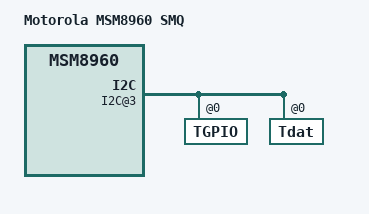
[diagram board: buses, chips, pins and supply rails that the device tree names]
/* Copyright (c) 2013 Motorola Mobility LLC. All rights reserved.
 *
 * This program is free software; you can redistribute it and/or modify
 * it under the terms of the GNU General Public License version 2 and
 * only version 2 as published by the Free Software Foundation.
 *
 * This program is distributed in the hope that it will be useful,
 * but WITHOUT ANY WARRANTY; without even the implied warranty of
 * MERCHANTABILITY or FITNESS FOR A PARTICULAR PURPOSE.  See the
 * GNU General Public License for more details.
 */

/dts-v1/;

/include/ "skeleton.dtsi"

/include/ "msm8960.dtsi"

/include/ "msm8960-motref.dtsi"

/include/ "msm8960-motref-pinmux.dtsi"

/ {
	model = "Motorola MSM8960 SMQ";
	compatible = "mmi,msm8960";

	mmi,product = "mmi,msm8960-smq";

	mmi,dt_revision = <2>;

	Aliases@0 {
	};

	Machine@0 {
	};

};

/ {

	Aliases@0 {
	};

	Chosen@0 {
		batt_eprom_gpio = <0x5d>;
		emu_id_activehigh = <0x01>;
		emu_id_flt_activehigh = <0x01>;
		emu_id_flt_gpio = <0xaa>;
		emu_id_mpp_gpio = <0xcd>;
		factory_kill_disable = <0x00>;
		factory_kill_gpio = <0x0000004b>;
		formfactor = <0x00000003>;
		last_compat_version = <0x01330684>;
		panel_name = [6d6970695f6d6f745f636d645f736d645f7168645f34323900];
		product = <0x00001eff>;
		setup_gsbi12_clock = <0x00>;
		version = <0x0133068b>;
	};

	Machine@0 {
	};

	System@0 {

		ClockTree@0 {
			class = [436c6f636b5472656500];
			type = <0x001e0014>;

			Clock@0 {
				class = [5175616c636f6d6d436c6f636b54726565436c6f636b00];
				clock = <0x000c>;
				clockname = [636f72655f636c6b00];
				deviceid = [6d736d5f73657269616c5f68736c2e3500];
				type = <0x001e0015>;
			};

			Clock@1 {
				class = [5175616c636f6d6d436c6f636b54726565436c6f636b00];
				clock = <0x000e>;
				clockname = [69666163655f636c6b00];
				deviceid = [6d736d5f73657269616c5f68736c2e3500];
				type = <0x001e0015>;
			};

			Clock@2 {
				class = [5175616c636f6d6d436c6f636b54726565436c6f636b00];
				clock = <0x0025>;
				clockname = [63616d5f636c6b00];
				deviceid = [342d3030333600];
				type = <0x001e0015>;
			};

			Clock@3 {
				class = [5175616c636f6d6d436c6f636b54726565436c6f636b00];
				clock = <0x0009>;
				clockname = [636f72655f636c6b00];
				deviceid = [6d736d5f73657269616c5f68732e3100];
				type = <0x001e0015>;
			};

			Clock@4 {
				class = [5175616c636f6d6d436c6f636b54726565436c6f636b00];
				clock = <0x000b>;
				clockname = [69666163655f636c6b00];
				deviceid = [6d736d5f73657269616c5f68732e3100];
				type = <0x001e0015>;
			};

			Clock@5 {
				class = [5175616c636f6d6d436c6f636b54726565436c6f636b00];
				clock = <0x000b>;
				clockname = [69666163655f636c6b00];
				deviceid = [7175705f6932632e3400];
                        };

                        Clock@6 {
                                class = [5175616c636f6d6d436c6f636b54726565436c6f636b00];
				clock = <0x0024>;
				clockname = [63616d5f636c6b00];
				deviceid = [342d3030336300];
				type = <0x001e0015>;
			};
		};

		Display@0 {
			class = [446973706c617900];
			disp_intf = <0x04>;
			num_disp_reg = <0x03>;
			panel_name = [6d6970695f6d6f745f636d645f736d645f7168645f34323900];
			reg_gpio_en_1 = <0x0c>;
			reg_gpio_en_3 = <0x0d>;
			reg_gpio_en_init_state_1 = <0x01>;
			reg_gpio_en_init_state_3 = <0x01>;
			reg_gpio_en_state_1 = <0x01>;
			reg_gpio_en_state_3 = <0x01>;
			reg_gpio_en_type_1 = <0x00>;
			reg_gpio_en_type_3 = <0x00>;
			reg_gpio_name_1 = [444953505f56325f454e00];
			reg_gpio_name_3 = [444953505f56315f454e00];
			reg_id_1 = [6473695f733400];
			reg_id_2 = [646973705f76636900];
			reg_id_3 = <0x00>;
			reg_max_mv_1 = <0x001b7740>;
			reg_max_mv_2 = <0x002f4d60>;
			reg_min_mv_1 = <0x001b7740>;
			reg_min_mv_2 = <0x002f4d60>;
			reg_name_1 = [444953505f564444494f00];
			reg_name_2 = [444953505f56434900];
			reg_name_3 = [565f335038305f4449535000];
			rst_dis_post_delay_1 = <0x000a>;
			rst_en_post_delay_1 = <0x0014>;
			rst_en_pre_delay_1 = <0x0019>;
			rst_en_state_1 = <0x01>;
			rst_gpio_1 = <0x25>;
			rst_gpio_type_1 = <0x01>;
			rst_init_state_1 = <0x01>;
			type = <0x001e001b>;
		};

		EMUDetection@0 {
			accy-support = <0x00>;
			class = [5175616c636f6d6d5f454d555f446574656374696f6e00];
			ic-type = <0x01>;
			type = <0x0000001d>;
			uart-gsbi = <0x04>;
			usb-otg-vreg = [383932315f7573625f6f746700];
			vdd-vreg = [454d555f504f57455200];
			vdd-vreg-mv = <0x002b7cd0>;

			Gpio-alt-mode@0 {
				class = [4750494f00];
				gpio-info = <0x0223>;
				pin-name = [53454d555f414c545f4d4f44455f454e5f4750494f00];
				pmic-gpio-cfg = [010000050603000001];
				pmic-gpio-cfg-alt = [010001050601000000];
				type = <0x001e0010>;
			};

			Gpio-dmb-ppd@0 {
				class = [4750494f00];
				gpio-info = <0x0309>;
				pin-name = [444d425f5050445f4445545f4750494f00];
				pmic-mpp-cfg = [000400];
				type = <0x001e0010>;
			};

			Gpio-dminus@0 {
				class = [4750494f00];
				gpio-info = <0x0215>;
				pin-name = [444d494e55535f4750494f00];
				pmic-gpio-cfg = [010000010602010000];
				pmic-gpio-cfg-alt = [020000050603000000];
				type = <0x001e0010>;
			};

			Gpio-dplus@0 {
				class = [4750494f00];
				gpio-info = <0x0229>;
				pin-name = [44504c55535f4750494f00];
				pmic-gpio-cfg = [020000010602010000];
				pmic-gpio-cfg-alt = [020000000603000000];
				type = <0x001e0010>;
			};

			Gpio-mux-ctrl0@0 {
				class = [4750494f00];
				gpio-info = <0x016b>;
				msm-gpio-cfg = <0x00030300>;
				pin-name = [454d555f4d55585f4354524c305f4750494f00];
				type = <0x001e0010>;
			};

			Gpio-mux-ctrl1@0 {
				class = [4750494f00];
				gpio-info = <0x0160>;
				msm-gpio-cfg = <0x00030100>;
				pin-name = [454d555f4d55585f4354524c315f4750494f00];
				type = <0x001e0010>;
			};

			Gpio-ppd-det@0 {
				class = [4750494f00];
				gpio-info = <0x0217>;
				pin-name = [53454d555f5050445f4445545f4750494f00];
				pmic-gpio-cfg = [020000050603000000];
				type = <0x001e0010>;
			};

			Gpio-sci-out@0 {
				class = [4750494f00];
				gpio-info = <0x030a>;
				pin-name = [454d555f5343495f4f55545f4750494f00];
				pmic-mpp-cfg = [000400];
				type = <0x001e0010>;
			};

			Gpio-uart-rx-pair@0 {
				class = [4750494f00];
				gpio-info = <0x022a>;
				pin-name = [52585f504149525f4750494f00];
				pmic-gpio-cfg = [010000010202010000];
				pmic-gpio-cfg-alt = [020000050202000001];
				type = <0x001e0010>;
			};

			Gpio-uart-tx-pair@0 {
				class = [4750494f00];
				gpio-info = <0x0216>;
				pin-name = [54585f504149525f4750494f00];
				pmic-gpio-cfg = [020000010202010000];
				pmic-gpio-cfg-alt = [020000050202000001];
				type = <0x001e0010>;
			};

			Gpio-whisper-rx@0 {
				class = [4750494f00];
				gpio-info = <0x0113>;
				msm-gpio-cfg = <0x01030000>;
				msm-gpio-cfg-alt = <0x00030000>;
				pin-name = [574849535045525f554152545f52585f4750494f00];
				type = <0x001e0010>;
			};

			Gpio-whisper-tx@0 {
				class = [4750494f00];
				gpio-info = <0x0112>;
				msm-gpio-cfg = <0x01030000>;
				msm-gpio-cfg-alt = <0x00030002>;
				pin-name = [574849535045525f554152545f54585f4750494f00];
				type = <0x001e0010>;
			};
		};

		Feature@0 {
			class = [4665617475726500];
			feature_hdmi = <0x00>;
			feature_mipi_cam = <0x00>;
			type = <0x0000000f>;
		};

		GSBISetup@0 {
			class = [47534249536574757000];
			type = <0x001e0012>;

			GSBI@1 {
				class = [5175616c636f6d6d47534249504f525400];
				gsbi_type = <0x03>;
				max_clock_speed = <0x00e5cc20>;
				type = <0x001e0013>;
			};

			GSBI@10 {
				class = [5175616c636f6d6d47534249504f525400];
				clk_freq = <0x00061a80>;
				gsbi_type = <0x01>;
				src_clk_rate = <0x016e3600>;
				type = <0x001e0013>;
			};

			GSBI@3 {
				class = [5175616c636f6d6d47534249504f525400];
				clk_freq = <0x00061a80>;
				gsbi_type = <0x02>;
				src_clk_rate = <0x016e3600>;
				type = <0x001e0013>;
			};

			GSBI@4 {
				class = [5175616c636f6d6d47534249504f525400];
				clk_freq = <0x00061a80>;
				gsbi_type = <0x06>;
				shared_mode = <0x01>;
				src_clk_rate = <0x016e3600>;
				type = <0x001e0013>;
			};

			GSBI@5 {
				class = [5175616c636f6d6d47534249504f525400];
				gsbi_type = <0x06>;
				shared_mode = <0x00>;
				type = <0x001e0013>;
				uart_line = <0x00>;
			};
		};

		I2C@10 {
			class = <0x49324300>;
			type = <0x001e0003>;

			I2C,Board@0 {
				class = [435434303600];
				ct406_prox_covered_offset = <0x0096>;
				ct406_prox_pulse_count = <0x05>;
				ct406_prox_uncovered_offset = <0x006e>;
				i2c,address = <0x00000039>;
				i2c,type = [637434303600];
				irq,gpio = <0x31>;
				type = <0x00250001>;
			};

			I2C,Board@4 {
				class = [504e35343400];
				i2c,address = <0x00000028>;
				i2c,type = [706e35343400];
				irq,gpio = <0x6a>;
				platform_data = [0000006a000000440000003300000000];
				type = <0x00190001>;
			};

			I2C,Board@5 {
				class = [544d5031303500];
				i2c,address = <0x00000048>;
				i2c,type = [746d7031303500];
				irq,gpio = <0x43>;
				type = <0x00030014>;
			};
		};

		I2C@3 {
			class = <0x49324300>;
			type = <0x001e0003>;

			I2C,Board@3 {
				class = <0x4d585400>;
				i2c,address = <0x0000004a>;
				i2c,type = [61746d78742d69326300];
				irq,gpio = <0x2e>;
				type = <0x00260001>;

				TGPIO@0 {
					class = [544750494f00];
					en_gpio = <0x34>;
					irq_gpio = <0x2e>;
					rst_gpio = <0x32>;
					type = <0x0000001f>;
				};

				Tdat@0 {
					class = [5464617400];
					tdat_filename = [61746d78742d72322e7464617400];
					type = <0x0000001e>;
				};
			};
		};

		I2C@4 {
			class = <0x49324300>;
			type = <0x001e0003>;

			I2C,Board@0 {
				1p8_via_gpio = <0x01>;
				class = [4f563838323000];
				drv_strength = <0x02>;
				gpio_avdd_en = <0x00000036>;
				gpio_dig_en = <0x0000003a>;
				gpio_pwd = <0x0000005f>;
				gpio_reset = <0x00000061>;
				i2c,address = <0x00000036>;
				i2c,type = [6f763838323000];
				type = <0x00290000>;
			};

			I2C,Board@2 {
				class = [4c4d3335353600];
				current_cntrl_reg_val = <0x1a>;
				enable_gpio = <0x00000002>;
				i2c,address = <0x00000063>;
				i2c,type = [6c6d333535365f6c656400];
				type = <0x000b0006>;
			};

			I2C,Board@3 {
				class = [4f563737333600];
				drv_strength = <0x02>;
				gpio_avdd_en = <0x00000052>;
				gpio_pwd = <0x00000059>;
				gpio_reset = <0x0000004c>;
				i2c,address = <0x0000003c>;
				i2c,type = [6f763737333600];
				type = <0x00290001>;
			};
		};

		IOMUX@0 {
			class = [494f4d555800];
			settings = [0000010001000000000001010000000101000100000004000200000000040102000000000500010303000005010101030000060100010000000701000100000008010001000000090100010000000b0100010000000e0100010000000f01000100000014000103000100140101030001001500010300010015010103000100200100010000002101000100000022010001000000230100010000002401000100000025010001000000260100010000002701000100000028010001000000290100010000002a0100010000002b01000100000030010001000000340100010000003501000100000037010001000000380100010000003f010001000000400100010000004101000100000042010001000000450100010000004601000100000047010001000000480100010000004d010001000000510100010000005a0100010000005d0000000000005d0100000000005e01000100000062010001000000630100010000006401000100000065010001000000660100010000006d0100010000008a0100010000009501000100000096010001000000970100010000];
			type = <0x001e000f>;
		};

		PowerIC@0 {
			chg-hot-temp = <0x38>;
			chg-hot-temp-offset = <0x04>;
			class = [506f776572494300];
			type = <0x001e0004>;

			GPIO@10 {
				class = [5175616c636f6d6d504d383932314750494f00];
				gpio = <0x000a>;
				type = <0x001e0006>;
			};

			GPIO@11 {
				class = [5175616c636f6d6d504d383932314750494f00];
				gpio = <0x000b>;
				type = <0x001e0006>;
			};

			GPIO@12 {
				class = [5175616c636f6d6d504d383932314750494f00];
				gpio = <0x000c>;
				type = <0x001e0006>;
			};

			GPIO@13 {
				class = [5175616c636f6d6d504d383932314750494f00];
				gpio = <0x000d>;
				type = <0x001e0006>;
			};

			GPIO@14 {
				class = [5175616c636f6d6d504d383932314750494f00];
				gpio = <0x000e>;
				type = <0x001e0006>;
			};

			GPIO@15 {
				class = [5175616c636f6d6d504d383932314750494f00];
				gpio = <0x000f>;
				type = <0x001e0006>;
			};

			GPIO@16 {
				class = [5175616c636f6d6d504d383932314750494f00];
				gpio = <0x0010>;
				type = <0x001e0006>;
			};

			GPIO@17 {
				class = [5175616c636f6d6d504d383932314750494f00];
				gpio = <0x0011>;
				type = <0x001e000b>;
				vin = <0x06>;
			};

			GPIO@20 {
				class = [5175616c636f6d6d504d383932314750494f00];
				gpio = <0x0014>;
				pull = <0x00>;
				type = <0x001e0008>;
			};

			GPIO@21 {
				class = [5175616c636f6d6d504d383932314750494f00];
				gpio = <0x0015>;
				type = <0x001e000c>;
				vin = <0x06>;
			};

			GPIO@22 {
				class = [5175616c636f6d6d504d383932314750494f00];
				gpio = <0x0016>;
				type = <0x001e000b>;
				vin = <0x02>;
			};

			GPIO@23 {
				class = [5175616c636f6d6d504d383932314750494f00];
				gpio = <0x0017>;
				type = <0x001e000b>;
				vin = <0x06>;
			};

			GPIO@24 {
				class = [5175616c636f6d6d504d383932314750494f00];
				func = <0x03>;
				gpio = <0x0018>;
				type = <0x001e0009>;
				value = <0x0000>;
			};

			GPIO@25 {
				class = [5175616c636f6d6d504d383932314750494f00];
				func = <0x03>;
				gpio = <0x0019>;
				type = <0x001e0009>;
				value = <0x0000>;
			};

			GPIO@26 {
				class = [5175616c636f6d6d504d383932314750494f00];
				func = <0x03>;
				gpio = <0x001a>;
				type = <0x001e0009>;
				value = <0x0000>;
			};

			GPIO@33 {
				class = [5175616c636f6d6d504d383932314750494f00];
				gpio = <0x0021>;
				type = <0x001e0006>;
			};

			GPIO@37 {
				class = [5175616c636f6d6d504d383932314750494f00];
				gpio = <0x0025>;
				type = <0x001e0007>;
				value = <0x0001>;
			};

			GPIO@40 {
				class = [5175616c636f6d6d504d383932314750494f00];
				gpio = <0x0028>;
				type = <0x001e0007>;
				value = <0x0000>;
			};

			GPIO@41 {
				class = [5175616c636f6d6d504d383932314750494f00];
				gpio = <0x0029>;
				type = <0x001e000b>;
				vin = <0x06>;
			};

			GPIO@42 {
				class = [5175616c636f6d6d504d383932314750494f00];
				gpio = <0x002a>;
				type = <0x001e000c>;
				vin = <0x02>;
			};

			GPIO@43 {
				class = [5175616c636f6d6d504d383932314750494f00];
				gpio = <0x002b>;
				type = <0x001e0006>;
			};

			GPIO@44 {
				class = [5175616c636f6d6d504d383932314750494f00];
				gpio = <0x002c>;
				type = <0x001e0006>;
			};

			GPIO@6 {
				class = [5175616c636f6d6d504d383932314750494f00];
				gpio = <0x0006>;
				type = <0x001e0006>;
			};

			GPIO@7 {
				class = [5175616c636f6d6d504d383932314750494f00];
				gpio = <0x0007>;
				type = <0x001e0006>;
			};

			GPIO@8 {
				class = [5175616c636f6d6d504d383932314750494f00];
				gpio = <0x0008>;
				type = <0x001e0006>;
			};
		};

		Vibrator@0 {
			class = [5669627261746f7200];
			max = <0x01c9c380>;
			min = <0x00003a98>;
			pwm = [00004e1f000000010000000100000001000061a7000080e8000080e800004e20000080e700009c4000009c40000061a800009c3f0000cb200000cb20000080e80000ea600000ea600000ea6000009c4001ba814100009c4000009a4c00009c4001ba852900002710000027100000138801c9c38000009c4000009a4c00000000];
			regulator = [383932315f6c313600];
			type = <0x00000017>;
			vib_dir = [0000001f00000001ffffffff0000004f];
			vib_en = [0000001f00000001ffffffff0000002f];
			voltage = [0000ea60002ab980002ab98001ba8141002625a0002625a0];
		};
	};
};

/ {

	mmi,revision = "p2a";

};
